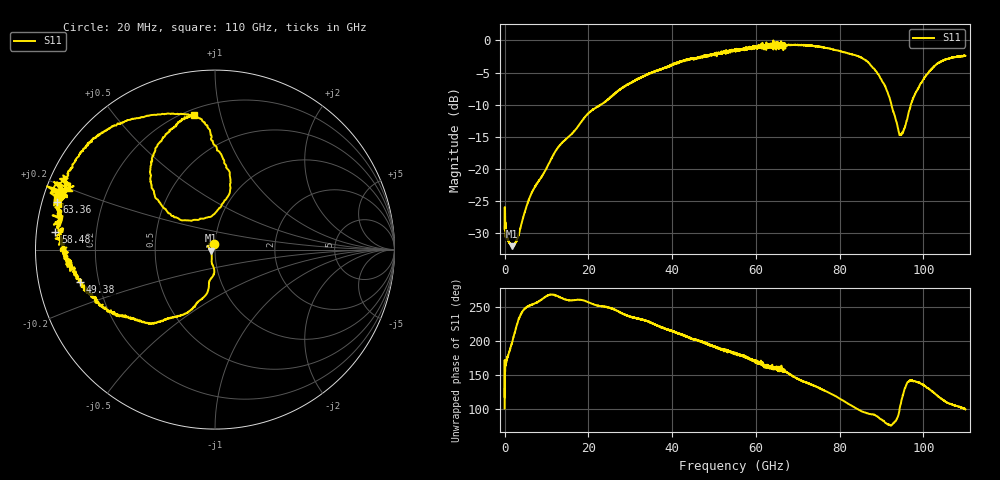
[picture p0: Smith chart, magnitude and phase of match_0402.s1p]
! Created with skrf (http://scikit-rf.org).
# Hz S RI R 50.0
!freq ReS11 ImS11
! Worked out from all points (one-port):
!   5500 points, 20 MHz to 110 GHz, reference 50 ohm
!   lowest |S11| = -32.0 dB at 1.7 GHz (marker M1), VSWR 1.05, Z = 47.6 - j0.619 ohm
!   |S11| at or under -10 dB: start of sweep to 23.01 GHz; 92.32 GHz to 96.98 GHz (4.656 GHz wide, 4.92 % of centre)
!   S11 on the Smith chart (normalised r, x): 20 MHz: 0.99, +0.07; 49.38 GHz: 0.13, -0.12; 58.48 GHz: 0.06, +0.05; 63.36 GHz: 0.04, +0.15; 110 GHz: 0.23, +0.83
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2e7  -0.00626 0.0336
1.7e9  -0.0241 -0.00649
3.02e9  -0.02 -0.0201
6.68e9  -0.0188 -0.0644
1.378e10  -0.0202 -0.1588
2.01e10  -0.0635 -0.265
2.752e10  -0.1936 -0.3671
3.416e10  -0.3552 -0.4139
4.128e10  -0.5751 -0.3458
4.938e10  -0.7502 -0.1825
5.502e10  -0.8334 -0.0149
5.848e10  -0.8893 0.0974
6.336e10  -0.8807 0.2673
6.626e10  -0.8269 0.3802
6.876e10  -0.7831 0.4831
7.11e10  -0.7165 0.5815
7.574e10  -0.5517 0.6911
8.252e10  -0.2122 0.7562
8.66e10  -0.043 0.6843
8.912e10  0.0192 0.5496
9.164e10  0.0837 0.3671
9.448e10  -0.0492 0.1775
9.522e10  -0.1075 0.1663
9.626e10  -0.1973 0.168
9.796e10  -0.2933 0.2415
1.0152e11  -0.36 0.456
1.0512e11  -0.2543 0.6619
1.1e11  -0.1196 0.7493
